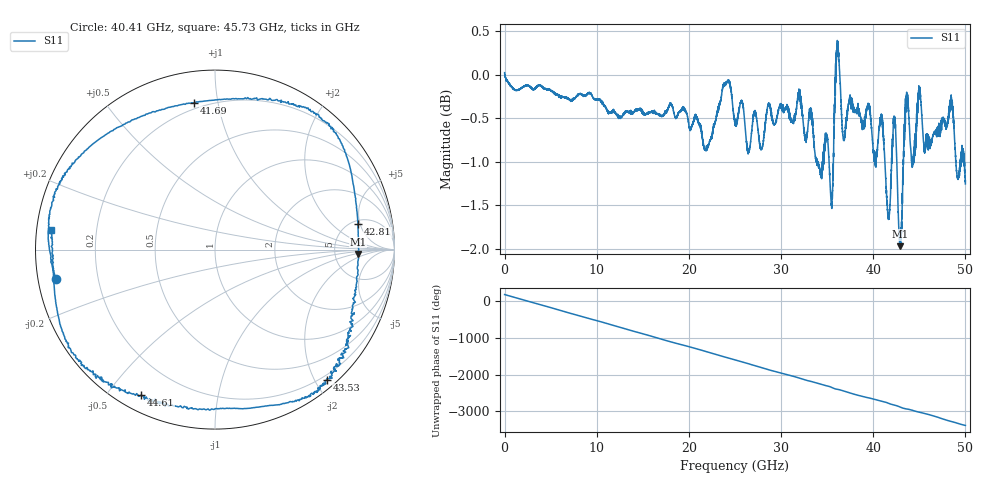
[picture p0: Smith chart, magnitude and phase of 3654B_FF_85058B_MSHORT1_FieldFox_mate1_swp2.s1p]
!Created with skrf (http://scikit-rf.org).
# Hz S RI R 50.0
!freq ReS11 ImS11
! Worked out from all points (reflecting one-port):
!   10000 points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, 5.3 MHz to 50 GHz, reference 50 ohm
!   lowest |S11| = -2.0 dB at 42.92 GHz (marker M1), VSWR 8.87, Z = 435 - j58.9 ohm
!   phase of S11 starts at 180 deg and turns -3561 deg over the sweep
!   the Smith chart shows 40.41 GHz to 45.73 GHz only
!   S11 on the Smith chart (normalised r, x): 40.41 GHz: 0.05, -0.09; 41.69 GHz: 0.17, +0.86; 42.81 GHz: 5.56, +4.62; 43.53 GHz: 0.13, -2.17; 44.61 GHz: 0.07, -0.61; 45.73 GHz: 0.04, +0.06
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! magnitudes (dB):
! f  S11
! 5.3 MHz  0.0
! 6.255 GHz  -0.2
! 12.51 GHz  -0.5
! 18.76 GHz  -0.5
! 21.9 GHz  -0.8
! 24.19 GHz  -0.1
! 25.01 GHz  -0.6
! 31.26 GHz  -0.5
! 34.94 GHz  -0.7
! 35.44 GHz  -1.5
! 36.11 GHz  0.4
! 36.8 GHz  -0.8
! 37.51 GHz  -0.3
! 40.41 GHz  -0.9
! 40.93 GHz  -0.5
! 41.69 GHz  -1.7
! 42.3 GHz  -0.6
! 42.81 GHz  -1.8
! 42.92 GHz  -2.0
! 43.53 GHz  -0.4
! 43.76 GHz  -0.3
! 44.23 GHz  -1.1
! 44.61 GHz  -0.8
! 45.02 GHz  -0.2
! 45.73 GHz  -0.7
! 48.45 GHz  -0.3
! 49.13 GHz  -1.2
! 50 GHz  -1.3
